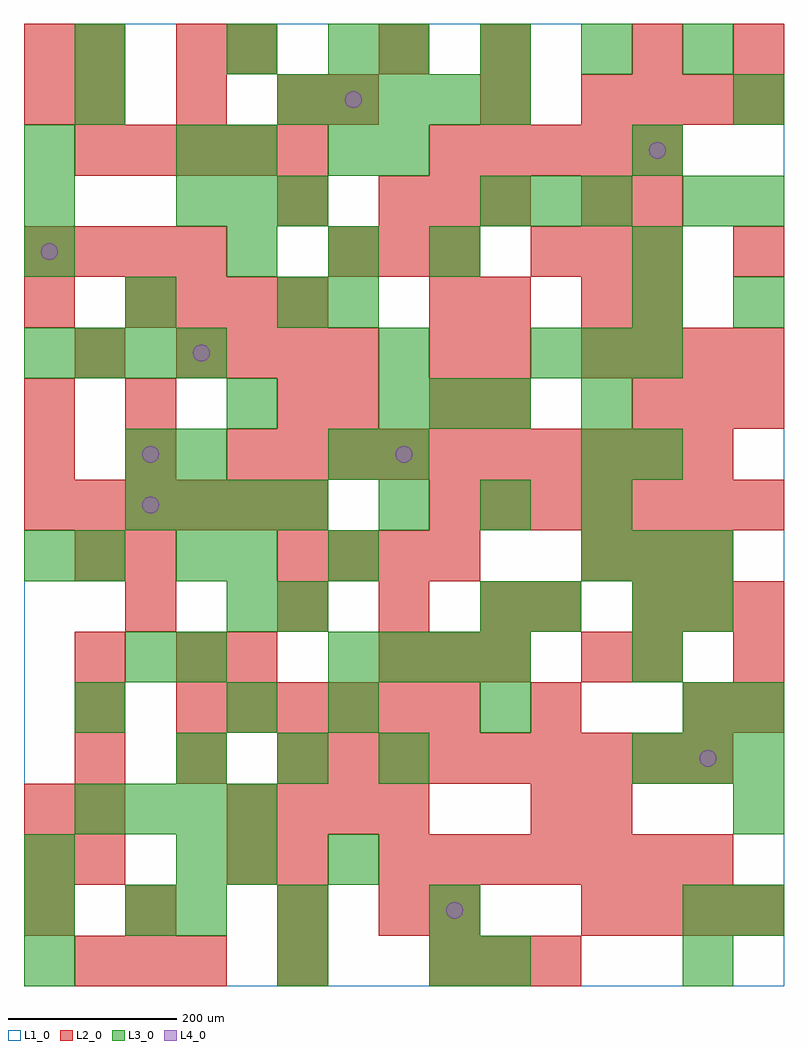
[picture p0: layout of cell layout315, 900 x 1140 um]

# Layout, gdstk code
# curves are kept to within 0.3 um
import gdstk
lib = gdstk.Library(unit=1e-6, precision=1e-09)
def R(c, l, rs):  # rectangles x0, y0, x1, y1
    for r in rs: c.add(gdstk.rectangle(r[:2], r[2:], *l))
def A(c, l, x, y, w, h, nx, ny, dx, dy):  # array of equal rectangles
    R(c, l, [(x+i*dx, y+j*dy, x+i*dx+w, y+j*dy+h) for i in range(nx) for j in range(ny)])
def P(c, l, *ps):  # polygons
    for p in ps: c.add(gdstk.Polygon(p, *l))
L1_0 = (1, 0)
L2_0 = (2, 0)
L3_0 = (3, 0)
L4_0 = (4, 0)

layout315 = lib.new_cell('layout315')
R(layout315, L1_0, [(0,0,900,1140)])
A(layout315, L2_0, 60, 0, 60, 60, 3, 1, 60, 0)
A(layout315, L2_0, 300, 0, 60, 60, 1, 3, 0, 60)
A(layout315, L2_0, 480, 0, 60, 60, 3, 1, 60, 0)
A(layout315, L2_0, 0, 60, 60, 60, 1, 3, 0, 60)
A(layout315, L2_0, 660, 60, 60, 60, 4, 2, 60, 660)
A(layout315, L2_0, 420, 120, 60, 60, 7, 1, 60, 0)
A(layout315, L2_0, 240, 180, 60, 60, 4, 1, 60, 0)
A(layout315, L2_0, 600, 180, 60, 60, 1, 3, 0, 120)
A(layout315, L2_0, 60, 240, 60, 60, 3, 2, 120, 780)
A(layout315, L2_0, 360, 240, 60, 60, 8, 1, 60, 0)
A(layout315, L2_0, 180, 300, 60, 60, 6, 1, 60, 0)
A(layout315, L2_0, 420, 360, 60, 60, 3, 2, 60, 540)
A(layout315, L2_0, 300, 420, 60, 60, 3, 1, 120, 0)
A(layout315, L2_0, 720, 420, 60, 60, 3, 2, 60, 240)
A(layout315, L2_0, 300, 480, 60, 60, 4, 1, 60, 0)
A(layout315, L2_0, 660, 480, 60, 60, 3, 1, 60, 0)
A(layout315, L2_0, 0, 540, 60, 60, 6, 1, 60, 0)
A(layout315, L2_0, 480, 540, 60, 60, 7, 1, 60, 0)
A(layout315, L2_0, 0, 600, 60, 60, 3, 1, 120, 0)
A(layout315, L2_0, 300, 600, 60, 60, 9, 1, 60, 0)
A(layout315, L2_0, 480, 660, 60, 60, 1, 3, 0, 60)
A(layout315, L2_0, 540, 660, 60, 60, 1, 3, 0, 60)
A(layout315, L2_0, 180, 720, 60, 60, 4, 1, 60, 0)
A(layout315, L2_0, 120, 780, 60, 60, 4, 1, 60, 0)
A(layout315, L2_0, 0, 840, 60, 60, 4, 1, 60, 0)
A(layout315, L2_0, 360, 840, 60, 60, 3, 1, 60, 0)
A(layout315, L2_0, 600, 840, 60, 60, 3, 1, 60, 0)
A(layout315, L2_0, 60, 960, 60, 60, 5, 1, 60, 0)
A(layout315, L2_0, 480, 960, 60, 60, 5, 1, 60, 0)
A(layout315, L2_0, 660, 1020, 60, 60, 4, 1, 60, 0)
R(layout315, L2_0, [(120,60,180,120), (420,60,480,120), (480,60,540,120), (60,120,120,180), (240,120,300,180), (60,180,120,240), (660,180,720,240), (60,300,120,360), (780,300,840,360), (840,300,900,360), (60,360,120,420), (180,360,240,420), (240,360,300,420), (660,360,720,420), (720,360,780,420), (840,360,900,420), (120,420,180,480), (60,480,120,540), (120,480,180,540), (0,660,60,720), (120,660,180,720), (300,660,360,720), (360,660,420,720), (60,720,120,780), (0,780,60,840), (660,780,720,840), (720,780,780,840), (840,840,900,900), (300,900,360,960), (660,900,720,960), (720,900,780,960), (0,1020,60,1080), (360,1020,420,1080), (540,1020,600,1080), (0,1080,60,1140), (60,1080,120,1140), (180,1080,240,1140), (240,1080,300,1140), (420,1080,480,1140), (540,1080,600,1140), (720,1080,780,1140), (840,1080,900,1140)])
A(layout315, L3_0, 0, 0, 60, 60, 1, 3, 0, 60)
A(layout315, L3_0, 300, 60, 60, 60, 1, 3, 0, 360)
A(layout315, L3_0, 840, 60, 60, 60, 1, 3, 0, 120)
A(layout315, L3_0, 360, 120, 60, 60, 1, 3, 0, 180)
A(layout315, L3_0, 60, 180, 60, 60, 4, 1, 60, 0)
A(layout315, L3_0, 180, 240, 60, 60, 3, 1, 120, 0)
A(layout315, L3_0, 720, 240, 60, 60, 3, 1, 60, 0)
A(layout315, L3_0, 180, 360, 60, 60, 1, 3, 0, 120)
A(layout315, L3_0, 360, 360, 60, 60, 4, 1, 60, 0)
A(layout315, L3_0, 720, 420, 60, 60, 1, 3, 0, 180)
A(layout315, L3_0, 660, 480, 60, 60, 3, 1, 60, 0)
A(layout315, L3_0, 120, 540, 60, 60, 4, 1, 60, 0)
A(layout315, L3_0, 420, 540, 60, 60, 3, 1, 120, 0)
A(layout315, L3_0, 360, 600, 60, 60, 1, 3, 0, 180)
A(layout315, L3_0, 420, 660, 60, 60, 3, 1, 60, 0)
A(layout315, L3_0, 0, 720, 60, 60, 4, 1, 60, 0)
A(layout315, L3_0, 600, 720, 60, 60, 3, 1, 60, 0)
A(layout315, L3_0, 840, 780, 60, 60, 1, 3, 0, 120)
A(layout315, L3_0, 0, 840, 60, 60, 1, 3, 0, 60)
A(layout315, L3_0, 240, 840, 60, 60, 3, 1, 120, 0)
A(layout315, L3_0, 180, 900, 60, 60, 3, 1, 60, 0)
A(layout315, L3_0, 540, 900, 60, 60, 3, 1, 60, 0)
A(layout315, L3_0, 300, 1020, 60, 60, 5, 1, 60, 0)
A(layout315, L3_0, 420, 1080, 60, 60, 4, 1, 120, 0)
R(layout315, L3_0, [(300,0,360,60), (480,0,540,60), (540,0,600,60), (780,0,840,60), (120,60,180,120), (180,60,240,120), (480,60,540,120), (780,60,840,120), (180,120,240,180), (240,120,300,180), (60,300,120,360), (240,300,300,360), (540,300,600,360), (780,300,840,360), (120,360,180,420), (720,360,780,420), (240,420,300,480), (540,420,600,480), (600,420,660,480), (780,420,840,480), (0,480,60,540), (60,480,120,540), (240,480,300,540), (120,600,180,660), (420,600,480,660), (660,600,720,660), (240,660,300,720), (660,660,720,720), (420,720,480,780), (120,780,180,840), (720,840,780,900), (780,900,840,960), (180,960,240,1020), (240,960,300,1020), (420,960,480,1020), (720,960,780,1020), (60,1020,120,1080), (60,1080,120,1140), (240,1080,300,1140), (360,1080,420,1140)])
P(layout315, L4_0, [(40,870),(39.239,873.827),(37.071,877.071),(33.827,879.239),(30,880),(26.173,879.239),(22.929,877.071),(20.761,873.827),(20,870),(20.761,866.173),(22.929,862.929),(26.173,860.761),(30,860),(33.827,860.761),(37.071,862.929),(39.239,866.173)],
  [(160,570),(159.239,573.827),(157.071,577.071),(153.827,579.239),(150,580),(146.173,579.239),(142.929,577.071),(140.761,573.827),(140,570),(140.761,566.173),(142.929,562.929),(146.173,560.761),(150,560),(153.827,560.761),(157.071,562.929),(159.239,566.173)],
  [(160,630),(159.239,633.827),(157.071,637.071),(153.827,639.239),(150,640),(146.173,639.239),(142.929,637.071),(140.761,633.827),(140,630),(140.761,626.173),(142.929,622.929),(146.173,620.761),(150,620),(153.827,620.761),(157.071,622.929),(159.239,626.173)],
  [(220,750),(219.239,753.827),(217.071,757.071),(213.827,759.239),(210,760),(206.173,759.239),(202.929,757.071),(200.761,753.827),(200,750),(200.761,746.173),(202.929,742.929),(206.173,740.761),(210,740),(213.827,740.761),(217.071,742.929),(219.239,746.173)],
  [(400,1050),(399.239,1053.827),(397.071,1057.071),(393.827,1059.239),(390,1060),(386.173,1059.239),(382.929,1057.071),(380.761,1053.827),(380,1050),(380.761,1046.173),(382.929,1042.929),(386.173,1040.761),(390,1040),(393.827,1040.761),(397.071,1042.929),(399.239,1046.173)],
  [(460,630),(459.239,633.827),(457.071,637.071),(453.827,639.239),(450,640),(446.173,639.239),(442.929,637.071),(440.761,633.827),(440,630),(440.761,626.173),(442.929,622.929),(446.173,620.761),(450,620),(453.827,620.761),(457.071,622.929),(459.239,626.173)],
  [(520,90),(519.239,93.827),(517.071,97.071),(513.827,99.239),(510,100),(506.173,99.239),(502.929,97.071),(500.761,93.827),(500,90),(500.761,86.173),(502.929,82.929),(506.173,80.761),(510,80),(513.827,80.761),(517.071,82.929),(519.239,86.173)],
  [(760,990),(759.239,993.827),(757.071,997.071),(753.827,999.239),(750,1000),(746.173,999.239),(742.929,997.071),(740.761,993.827),(740,990),(740.761,986.173),(742.929,982.929),(746.173,980.761),(750,980),(753.827,980.761),(757.071,982.929),(759.239,986.173)],
  [(820,270),(819.239,273.827),(817.071,277.071),(813.827,279.239),(810,280),(806.173,279.239),(802.929,277.071),(800.761,273.827),(800,270),(800.761,266.173),(802.929,262.929),(806.173,260.761),(810,260),(813.827,260.761),(817.071,262.929),(819.239,266.173)])

lib.write_gds('layout315.gds')
